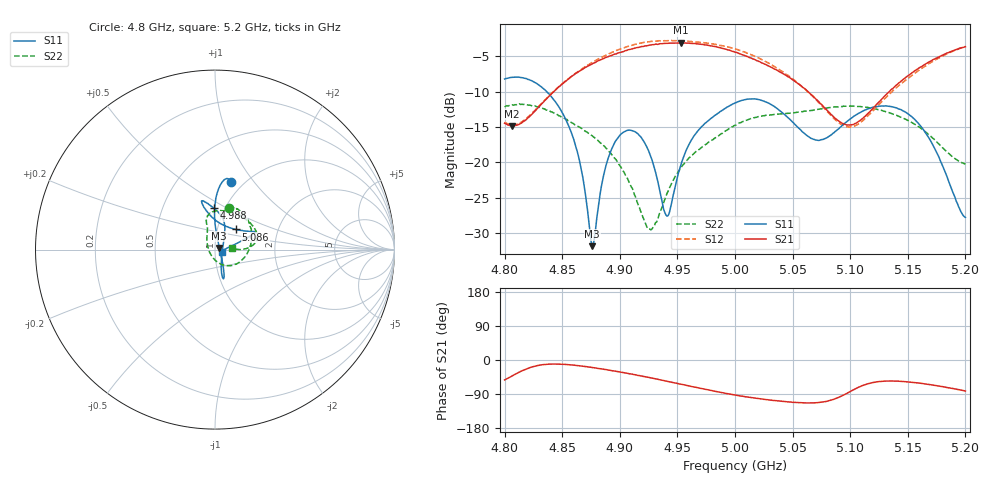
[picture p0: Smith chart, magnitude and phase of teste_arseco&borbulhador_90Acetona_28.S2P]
! Network Analyzer HP8722D
! Hewlett-Packard
! Data name: Linha & Wilkinson
! Saver's name: Rodrigo Anjos
! Comments: Teste da utilização de aquisição
! continua pelo VNA HP8722D
! Time and date: 17/4/2025 11:17
!  Frequency  S11  S21  S12  S22
# HZ  S  MA R 50
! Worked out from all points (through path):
!   401 points, 4.8 GHz to 5.2 GHz, reference 50 ohm
!   highest |S21| = -3.07 dB at 4.953 GHz (marker M1); lowest = -14.8 dB at 4.806 GHz (marker M2)
!   lowest |S11| = -31.9 dB at 4.876 GHz (marker M3), VSWR 1.05, Z = 52.4 + j0.929 ohm
!   |S11| at or under -10 dB: 4.837 GHz to end of sweep
!   |S22| runs from -29.6 to -11.7 dB; largest |S21 - S12| = 1.4
!   S11 on the Smith chart (normalised r, x): 4.8 GHz: 0.87, +0.78; 4.988 GHz: 0.89, +0.43; 5.086 GHz: 1.23, +0.28; 5.2 GHz: 1.08, -0.03
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4.8e9  0.3895 76.8  0.1892 -52.6  0.1927 82.3  0.2465 71.7
4.806e9  0.3999 78.6  0.181 -42.9  0.1848 91.2  0.254 66.8
4.843e9  0.2762 89.2  0.3192 -10.6  0.3203 122.5  0.2228 24.2
4.857e9  0.17 90.6  0.3999 -12.7  0.4001 122.6  0.1937 3.1
4.867e9  0.08509 84.2  0.4529 -16.1  0.4583 121.1  0.1735 -12.5
4.876e9  0.02548 20.3  0.4991 -19.8  0.5098 118.7  0.1544 -26.9
4.888e9  0.09497 -62.4  0.5543 -25.3  0.5743 114.8  0.1259 -45.1
4.902e9  0.1607 -71.7  0.6069 -32.6  0.6431 108.8  0.08924 -66.5
4.925e9  0.1207 -73.0  0.6739 -45.8  0.7151 95.9  0.03368 -144.0
4.934e9  0.06704 -57.8  0.6901 -51.7  0.7276 90.2  0.04243 159.8
4.942e9  0.04201 4.1  0.6977 -56.9  0.7271 85.0  0.06263 135.0
4.953e9  0.09591 56.7  0.7027 -63.8  0.7231 78.2  0.09126 119.3
4.966e9  0.1599 71.5  0.6925 -72.0  0.712 69.8  0.119 111.1
4.988e9  0.231 91.5  0.6452 -85.6  0.6726 55.7  0.1598 107.6
5e9  0.2635 100.0  0.6027 -92.4  0.6368 48.2  0.1831 104.5
5.029e9  0.2634 105.5  0.4823 -105.1  0.506 33.3  0.2163 88.0
5.067e9  0.1471 76.4  0.2988 -113.3  0.2959 27.6  0.2332 54.3
5.086e9  0.1623 43.7  0.2089 -103.4  0.204 39.6  0.2466 36.3
5.105e9  0.2169 27.8  0.1891 -75.3  0.1829 69.5  0.2495 21.9
5.134e9  0.2494 23.1  0.3168 -55.5  0.3038 90.9  0.2248 8.7
5.164e9  0.1682 18.9  0.4898 -62.7  0.4736 85.1  0.168 1.4
5.2e9  0.04071 -17.0  0.6593 -81.8  0.6619 67.4  0.09697 5.5
